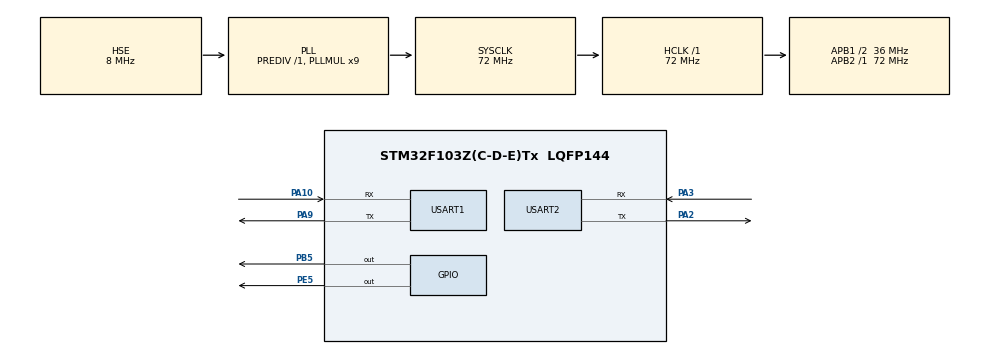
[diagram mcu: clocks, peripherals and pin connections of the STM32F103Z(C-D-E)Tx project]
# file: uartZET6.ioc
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Mcu.Family=STM32F1
Mcu.Name=STM32F103Z(C-D-E)Tx
Mcu.Package=LQFP144
NVIC.PriorityGroup=NVIC_PRIORITYGROUP_4
NVIC.USART1_IRQn=true\:0\:0\:false\:false\:true\:true\:true\:true
NVIC.USART2_IRQn=true\:0\:0\:false\:false\:true\:true\:true\:true
OSC_IN.Mode=HSE-External-Oscillator
OSC_IN.Signal=RCC_OSC_IN
OSC_OUT.Mode=HSE-External-Oscillator
OSC_OUT.Signal=RCC_OSC_OUT
PA10.Mode=Asynchronous
PA10.Signal=USART1_RX
PA13.Mode=JTAG_5_pins
PA13.Signal=SYS_JTMS-SWDIO
PA14.Mode=JTAG_5_pins
PA14.Signal=SYS_JTCK-SWCLK
PA15.Mode=JTAG_5_pins
PA15.Signal=SYS_JTDI
PA2.Mode=Asynchronous
PA2.Signal=USART2_TX
PA3.Mode=Asynchronous
PA3.Signal=USART2_RX
PA9.Mode=Asynchronous
PA9.Signal=USART1_TX
PB3.Mode=JTAG_5_pins
PB3.Signal=SYS_JTDO-TRACESWO
PB4.Mode=JTAG_5_pins
PB4.Signal=SYS_NJTRST
PB5.GPIO_PuPd=GPIO_PULLUP
PB5.Signal=GPIO_Output
PC14-OSC32_IN.Mode=LSE-External-Oscillator
PC14-OSC32_IN.Signal=RCC_OSC32_IN
PC15-OSC32_OUT.Mode=LSE-External-Oscillator
PC15-OSC32_OUT.Signal=RCC_OSC32_OUT
PE5.GPIO_PuPd=GPIO_PULLUP
PE5.Signal=GPIO_Output
ProjectManager.HeapSize=0x200
ProjectManager.StackSize=0x400
ProjectManager.TargetToolchain=MDK-ARM V5.32
RCC.AHBFreq_Value=72000000
RCC.APB1CLKDivider=RCC_HCLK_DIV2
RCC.APB1Freq_Value=36000000
RCC.APB1TimFreq_Value=72000000
RCC.APB2Freq_Value=72000000
RCC.APB2TimFreq_Value=72000000
RCC.HCLKFreq_Value=72000000
RCC.PLLMUL=RCC_PLL_MUL9
RCC.PLLSourceVirtual=RCC_PLLSOURCE_HSE
RCC.SYSCLKFreq_VALUE=72000000
RCC.SYSCLKSource=RCC_SYSCLKSOURCE_PLLCLK
RCC.USBFreq_Value=72000000
USART1.VirtualMode=VM_ASYNC
USART2.VirtualMode=VM_ASYNC
board=custom

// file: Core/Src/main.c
/* USER CODE BEGIN Header */
/**
  ******************************************************************************
  * @file           : main.c
  * @brief          : Main program body
  ******************************************************************************
  * @attention
  *
  * Copyright (c) 2024 STMicroelectronics.
  * All rights reserved.
  *
  * This software is licensed under terms that can be found in the LICENSE file
  * in the root directory of this software component.
  * If no LICENSE file comes with this software, it is provided AS-IS.
  *
  ******************************************************************************
  */
/* USER CODE END Header */
#include "main.h"
#include "usart.h"
#include "gpio.h"

/* USER CODE BEGIN PV */
uint8_t RxData[10]="haha";
uint8_t TxData[10];
uint8_t RxData1[10];
uint8_t TxData1[10]="hallo";
float num_test=3.14;
/* USER CODE END PV */

void SystemClock_Config(void);
/* USER CODE BEGIN PFP */
void float_to_u8_realnum(float ,uint8_t*);
void U32_to_U8(uint32_t FLin, uint8_t *U8out);
uint32_t U8_to_U32(uint8_t *U8in);
uint32_t FloatToU32(float dat);
float U32ToFloat(uint32_t dat);
/* USER CODE END PFP */

int main(void)
{

  /* MCU Configuration--------------------------------------------------------*/

  /* Reset of all peripherals, Initializes the Flash interface and the Systick. */
  HAL_Init();

  /* USER CODE BEGIN Init */

  LED0(1);

  /* USER CODE END Init */

  /* Configure the system clock */
  SystemClock_Config();

  /* Initialize all configured peripherals */
  MX_GPIO_Init();
  MX_USART1_UART_Init();
  MX_USART2_UART_Init();
  /* USER CODE BEGIN 2 */
    HAL_UART_Receive_IT(&huart2, RxData, 10);
  HAL_UART_Receive_IT(&huart1, RxData1, 10);
  float_to_u8_realnum(num_test,TxData1);
  uint32_t test=12345;
  /* USER CODE END 2 */

  /* Infinite loop */
  while (1)
  {

    /* USER CODE BEGIN 3 */
    U32_to_U8(test,TxData1);
    test=U8_to_U32(TxData1);
    HAL_UART_Transmit_IT(&huart1,TxData1,4);
    HAL_Delay(1000);
    HAL_UART_Transmit_IT(&huart1,TxData1,4);
    LED0_TOGGLE;
    HAL_Delay(1000);
  }
  /* USER CODE END 3 */
}

void SystemClock_Config(void)
{
  RCC_OscInitTypeDef RCC_OscInitStruct = {0};
  RCC_ClkInitTypeDef RCC_ClkInitStruct = {0};

  /** Initializes the RCC Oscillators according to the specified parameters
  * in the RCC_OscInitTypeDef structure.
  */
  RCC_OscInitStruct.OscillatorType = RCC_OSCILLATORTYPE_HSE;
  RCC_OscInitStruct.HSEState = RCC_HSE_ON;
  RCC_OscInitStruct.HSEPredivValue = RCC_HSE_PREDIV_DIV1;
  RCC_OscInitStruct.HSIState = RCC_HSI_ON;
  RCC_OscInitStruct.PLL.PLLState = RCC_PLL_ON;
  RCC_OscInitStruct.PLL.PLLSource = RCC_PLLSOURCE_HSE;
  RCC_OscInitStruct.PLL.PLLMUL = RCC_PLL_MUL9;
  if (HAL_RCC_OscConfig(&RCC_OscInitStruct) != HAL_OK)
  {
    Error_Handler();
  }

  /** Initializes the CPU, AHB and APB buses clocks
  */
  RCC_ClkInitStruct.ClockType = RCC_CLOCKTYPE_HCLK|RCC_CLOCKTYPE_SYSCLK
                              |RCC_CLOCKTYPE_PCLK1|RCC_CLOCKTYPE_PCLK2;
  RCC_ClkInitStruct.SYSCLKSource = RCC_SYSCLKSOURCE_PLLCLK;
  RCC_ClkInitStruct.AHBCLKDivider = RCC_SYSCLK_DIV1;
  RCC_ClkInitStruct.APB1CLKDivider = RCC_HCLK_DIV2;
  RCC_ClkInitStruct.APB2CLKDivider = RCC_HCLK_DIV1;

  if (HAL_RCC_ClockConfig(&RCC_ClkInitStruct, FLASH_LATENCY_2) != HAL_OK)
  {
    Error_Handler();
  }
}

/* USER CODE BEGIN 4 */
void U32_to_U8(uint32_t FLin, uint8_t *U8out)
{
   uint32_t mid = (uint32_t)(FLin);
  U8out[0] = (mid >> 24) & 0xff;
  U8out[1] = (mid >> 16) & 0xff;
  U8out[2] = (mid >> 8) & 0xff;
  U8out[3] = (mid >> 0) & 0xff;
  /*
uint8_t farray[4];
*(float *)farray =*FLin;
U8out[3]= farray[0];
U8out[2]= farray[1];
U8out[1]= farray[2];
U8out[0]= farray[3];

//U8out[0]= farray[0];
//U8out[1]= farray[1];
//U8out[2]= farray[2];
//U8out[3]= farray[3];*/

}
uint32_t FloatToU32(float dat)
{
	uint8_t buf[4];

	buf[0] = ((uint8_t*)&dat)[0];
	buf[1] = ((uint8_t*)&dat)[1];
	buf[2] = ((uint8_t*)&dat)[2];
	buf[3] = ((uint8_t*)&dat)[3];

	return (buf[0] << 24) + (buf[1] << 16) + (buf[2] << 8) + buf[3];
}
float U32ToFloat(uint32_t dat)
{
	uint8_t buf[4];

	buf[0] = dat >> 24;
	buf[1] = dat >> 16;
	buf[2] = dat >> 8;
	buf[3] = dat & 0xff;

	return *((float*)buf);
}

uint32_t U8_to_U32(uint8_t *U8in)
{
  uint32_t mid = (U8in[0] << 24) | (U8in[1] << 16) | (U8in[2] << 8) | U8in[3];
  return (mid);
}
void float_to_u8_realnum(float FLin,uint8_t* U8out)//??????????
{
  int i,mid;
  mid=(int)FLin;
  FLin=(FLin-mid)*10;
  U8out[0]=(char)(mid+48);
  U8out[1]='.';
  for(i=2;i<8;i+=1)
  {
    mid=(int)FLin;
    U8out[i]=(char)(((int)FLin)+48);
    FLin=(FLin-mid)*10;
  }
}
void HAL_UART_RxCpltCallback(UART_HandleTypeDef *huart)
{

  if(huart== & huart1){

      for(uint16_t i=0;i<10;i+=1)
    {
      TxData1[i]=RxData1[i];
    }
    //num_test=RxData1[0]-48;
    //for(uint16_t i=2;i<10;i+=1)
    //{
    //num_test +=(float)(RxData1[i]-48)/(10^(i-1));
    //}
    //float_to_u8_realnum(num_test,TxData1);
    LED1_TOGGLE;
    HAL_UART_Receive_IT(&huart1,RxData1,10);
  }
  if(huart== & huart2){
    HAL_UART_Receive_IT(&huart2,RxData,4);
    num_test=U8_to_Float(RxData);
    float_to_u8_realnum(num_test,TxData1);
    LED1_TOGGLE;
  }
}
/* USER CODE END 4 */

void Error_Handler(void)
{
  __disable_irq();
  while (1)
  {
  }
}
